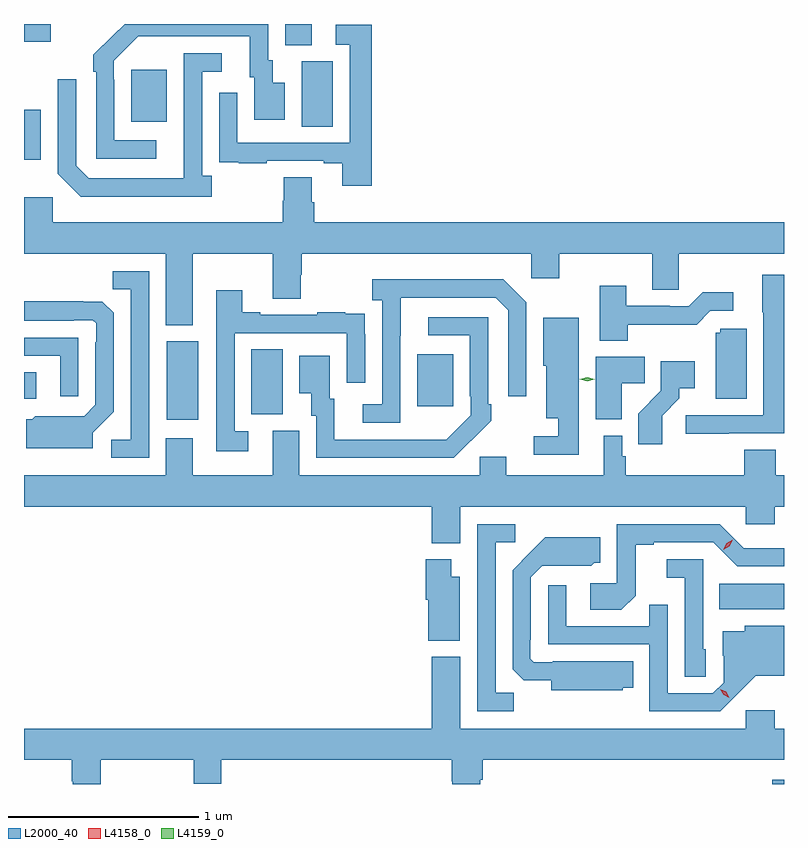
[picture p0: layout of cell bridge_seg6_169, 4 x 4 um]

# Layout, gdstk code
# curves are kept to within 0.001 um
import gdstk
lib = gdstk.Library(unit=1e-6, precision=1e-09)
def R(c, l, rs):  # rectangles x0, y0, x1, y1
    for r in rs: c.add(gdstk.rectangle(r[:2], r[2:], *l))
def P(c, l, *ps):  # polygons
    for p in ps: c.add(gdstk.Polygon(p, *l))
L2000_40 = (2000, 40)
L4158_0 = (4158, 0)
L4159_0 = (4159, 0)

bridge_seg6_169 = lib.new_cell('bridge_seg6_169')
R(bridge_seg6_169, L2000_40, [(162.954,921.9,163.017,921.922), (162.676,922.82,163.017,922.954), (159.767,923.817,159.934,924.229), (160.214,923.845,160.378,924.188), (161.087,923.889,161.275,924.163), (159.017,923.928,159.082,924.068), (159.017,925.186,159.106,925.45), (160.478,925.36,160.642,925.704), (159.581,925.385,159.769,925.66), (160.391,925.789,160.531,925.9), (159.017,925.806,159.157,925.9)])
P(bridge_seg6_169, L2000_40, [(159.712,925.287),(159.492,925.287),(159.492,925.607),(159.489,925.607),(159.489,925.707),(159.618,925.836),(160.205,925.836),(160.205,925.62),(160.229,925.62),(160.229,925.395),(160.39,925.395),(160.39,925.591),(160.327,925.591),(160.327,925.71),(160.302,925.71),(160.302,925.9),(159.546,925.9),(159.381,925.737),(159.381,925.649),(159.396,925.649),(159.396,925.191),(159.712,925.191)],
  [(160.847,925.897),(160.659,925.897),(160.659,925.791),(160.731,925.791),(160.731,925.275),(160.14,925.275),(160.14,925.537),(160.044,925.537),(160.044,925.282),(160.045,925.282),(160.045,925.173),(160.147,925.173),(160.147,925.167),(160.295,925.167),(160.295,925.179),(160.595,925.179),(160.595,925.167),(160.691,925.167),(160.691,925.05),(160.847,925.05)],
  [(160.006,925.102),(159.954,925.102),(159.954,925.65),(160.057,925.65),(160.057,925.746),(159.858,925.746),(159.857,925.089),(159.357,925.089),(159.291,925.155),(159.291,925.609),(159.195,925.609),(159.195,925.113),(159.316,924.992),(160.006,924.992)],
  [(159.904,924.692),(160.325,924.692),(160.325,924.454),(160.473,924.454),(160.473,924.579),(160.478,924.579),(160.478,924.692),(161.688,924.692),(161.688,924.561),(161.835,924.561),(161.835,924.692),(162.323,924.692),(162.323,924.502),(162.462,924.502),(162.462,924.692),(163.017,924.692),(163.017,924.856),(160.544,924.856),(160.544,924.962),(160.531,924.962),(160.531,925.094),(160.384,925.094),(160.384,924.969),(160.379,924.969),(160.379,924.856),(159.168,924.856),(159.168,924.988),(159.017,924.988),(159.017,924.692),(159.764,924.692),(159.764,924.314),(159.904,924.314)],
  [(159.675,924.6),(159.484,924.6),(159.484,924.505),(159.579,924.505),(159.579,923.712),(159.477,923.712),(159.477,923.616),(159.675,923.616)],
  [(162.725,923.745),(163.017,923.745),(163.017,924.58),(162.902,924.58),(162.902,924.384),(162.909,924.384),(162.909,923.841),(162.501,923.841),(162.501,923.743),(162.725,923.743)],
  [(160.998,924.259),(160.999,924.459),(161.499,924.459),(161.565,924.393),(161.565,923.94),(161.661,923.94),(161.661,924.435),(161.54,924.556),(160.851,924.556),(160.851,924.446),(160.902,924.446),(160.902,923.898),(160.8,923.898),(160.8,923.802),(160.998,923.802)],
  [(162.195,924.318),(162.557,924.317),(162.63,924.39),(162.751,924.39),(162.751,924.487),(162.589,924.487),(162.516,924.414),(162.416,924.414),(162.416,924.417),(162.187,924.417),(162.187,924.523),(162.047,924.523),(162.047,924.233),(162.195,924.233)],
  [(160.198,923.757),(160.125,923.757),(160.125,924.273),(160.716,924.273),(160.716,924.012),(160.812,924.012),(160.812,924.266),(160.811,924.266),(160.811,924.375),(160.709,924.375),(160.709,924.382),(160.561,924.382),(160.561,924.369),(160.261,924.369),(160.261,924.382),(160.165,924.382),(160.165,924.499),(160.029,924.499),(160.029,923.652),(160.198,923.652)],
  [(159.379,923.748),(159.489,923.858),(159.489,924.38),(159.43,924.439),(159.017,924.44),(159.017,924.339),(159.278,924.339),(159.278,924.342),(159.378,924.342),(159.396,924.324),(159.396,924.224),(159.393,924.224),(159.393,923.895),(159.333,923.835),(159.076,923.836),(159.06,923.82),(159.029,923.82),(159.029,923.666),(159.379,923.666)],
  [(161.369,923.707),(161.37,923.706),(161.475,923.811),(161.475,923.899),(161.46,923.899),(161.46,924.357),(161.145,924.357),(161.145,924.261),(161.364,924.261),(161.364,923.941),(161.367,923.941),(161.367,923.841),(161.239,923.713),(160.651,923.712),(160.651,923.928),(160.627,923.928),(160.627,924.154),(160.466,924.154),(160.466,923.957),(160.529,923.957),(160.529,923.838),(160.554,923.838),(160.554,923.616),(161.278,923.616)],
  [(161.937,923.929),(161.938,923.929),(161.938,924.355),(161.75,924.355),(161.75,924.102),(161.765,924.102),(161.765,923.825),(161.829,923.825),(161.829,923.73),(161.7,923.73),(161.7,923.634),(161.937,923.634)],
  [(162.82,924.297),(162.681,924.297),(162.681,924.276),(162.659,924.276),(162.659,923.928),(162.82,923.928)],
  [(159.303,924.249),(159.017,924.249),(159.017,924.153),(159.207,924.153),(159.207,923.94),(159.303,923.94)],
  [(162.163,924.01),(162.284,924.01),(162.284,924.148),(162.026,924.148),(162.026,923.819),(162.163,923.819)],
  [(162.376,923.839),(162.466,923.929),(162.466,923.984),(162.547,923.984),(162.547,924.124),(162.369,924.124),(162.369,923.969),(162.25,923.85),(162.25,923.688),(162.376,923.688)],
  [(162.809,923.524),(162.185,923.524),(162.185,923.625),(162.165,923.625),(162.165,923.734),(162.068,923.734),(162.068,923.524),(161.554,923.524),(161.554,923.622),(161.415,923.622),(161.415,923.524),(160.465,923.524),(160.465,923.76),(160.325,923.76),(160.325,923.524),(159.904,923.524),(159.904,923.719),(159.764,923.719),(159.764,923.524),(159.017,923.524),(159.017,923.36),(161.162,923.36),(161.162,923.168),(161.314,923.168),(161.314,923.36),(162.816,923.36),(162.816,923.267),(162.968,923.267),(162.968,923.36),(163.017,923.36),(163.017,923.524),(162.974,923.524),(162.974,923.66),(162.809,923.66)],
  [(161.595,922.379),(161.499,922.379),(161.499,923.172),(161.602,923.172),(161.602,923.268),(161.403,923.268),(161.403,922.284),(161.595,922.284)],
  [(162.237,922.892),(162.237,923.16),(162.331,923.16),(162.331,923.172),(162.645,923.172),(162.771,923.046),(163.017,923.046),(163.017,923.142),(162.804,923.142),(162.678,923.268),(162.138,923.268),(162.138,922.956),(161.997,922.956),(161.997,922.816),(162.161,922.816)],
  [(162.168,922.406),(162.224,922.406),(162.224,922.546),(161.8,922.546),(161.8,922.542),(161.7,922.542),(161.682,922.56),(161.682,922.66),(161.685,922.66),(161.685,922.989),(161.745,923.049),(162.002,923.048),(162.018,923.064),(162.049,923.064),(162.049,923.2),(161.761,923.2),(161.589,923.026),(161.589,922.504),(161.648,922.445),(161.792,922.445),(161.792,922.394),(162.168,922.394)],
  [(161.311,922.99),(161.266,922.99),(161.266,923.083),(161.132,923.083),(161.132,922.869),(161.144,922.869),(161.144,922.655),(161.311,922.655)],
  [(162.606,922.608),(162.591,922.608),(162.591,923.082),(162.399,923.082),(162.399,922.985),(162.495,922.985),(162.495,922.465),(162.606,922.465)],
  [(162.766,922.367),(162.869,922.469),(163.017,922.469),(163.017,922.732),(162.81,922.732),(162.81,922.705),(162.695,922.705),(162.695,922.576),(162.699,922.576),(162.699,922.434),(162.642,922.377),(162.405,922.377),(162.405,922.844),(162.307,922.844),(162.307,922.731),(161.871,922.731),(161.871,922.945),(161.775,922.945),(161.775,922.635),(162.309,922.635),(162.309,922.284),(162.682,922.284)],
  [(159.421,922.028),(159.91,922.028),(159.91,921.902),(160.056,921.902),(160.056,922.028),(161.267,922.028),(161.267,921.915),(161.272,921.915),(161.272,921.9),(161.419,921.9),(161.419,921.922),(161.432,921.922),(161.432,922.028),(163.017,922.028),(163.017,922.192),(162.968,922.192),(162.968,922.288),(162.816,922.288),(162.816,922.192),(161.314,922.192),(161.314,922.57),(161.162,922.57),(161.162,922.192),(159.017,922.192),(159.017,922.028),(159.269,922.028),(159.269,921.915),(159.274,921.915),(159.274,921.9),(159.421,921.9)])
P(bridge_seg6_169, L4158_0, [(162.698,923.133),(162.698,923.133),(162.715,923.166),(162.746,923.185),(162.746,923.185),(162.746,923.185),(162.729,923.152),(162.698,923.133)],
  [(162.73,922.355),(162.699,922.37),(162.682,922.4),(162.682,922.4),(162.682,922.4),(162.713,922.385),(162.73,922.355),(162.73,922.355)])
P(bridge_seg6_169, L4159_0, [(161.982,924.02),(161.943,924.03),(161.942,924.03),(161.943,924.03),(161.982,924.04),(162.022,924.03),(162.022,924.03),(162.022,924.03)])

lib.write_gds('bridge_seg6_169.gds')
